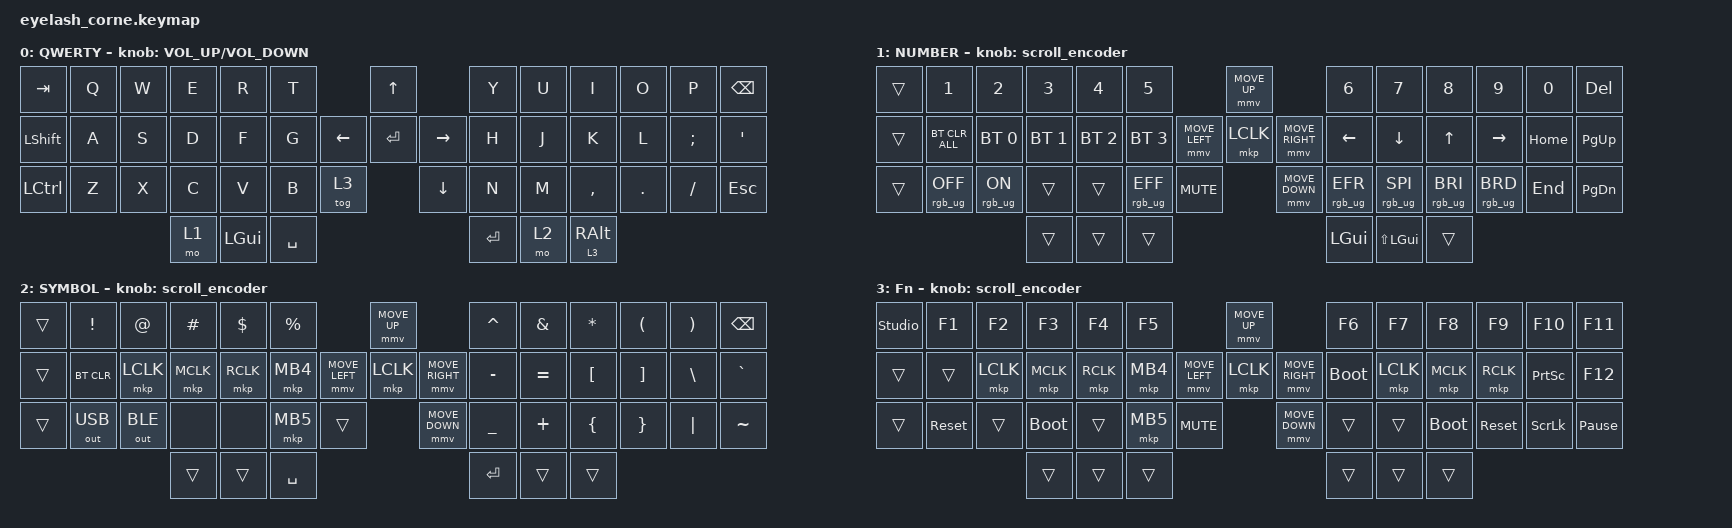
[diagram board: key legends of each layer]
#define ZMK_POINTING_DEFAULT_MOVE_VAL 1200  // 600
#define ZMK_POINTING_DEFAULT_SCRL_VAL 25   // 10

#include <input/processors.dtsi>
#include <zephyr/dt-bindings/input/input-event-codes.h>
#include <behaviors.dtsi>
#include <dt-bindings/zmk/bt.h>
#include <dt-bindings/zmk/keys.h>
#include <dt-bindings/zmk/outputs.h>
#include <dt-bindings/zmk/pointing.h>
#include <dt-bindings/zmk/rgb.h>

&mmv_input_listener { input-processors = <&zip_xy_scaler 2 1>; };

&msc_input_listener { input-processors = <&zip_scroll_scaler 2 1>; };

&msc {
    acceleration-exponent = <1>;      // 0
    time-to-max-speed-ms = <100>;       // 300
    delay-ms = <0>;                   // 0
};

&mmv {
    time-to-max-speed-ms = <500>;
    acceleration-exponent = <1>;
    trigger-period-ms = <16>;
};

/ {
    behaviors {
        td0: td0 {
            compatible = "zmk,behavior-tap-dance";
            display-name = "Shift/Caps Lock Tap Dance";
            #binding-cells = <0>;
            bindings = <&kp LEFT_SHIFT>, <&kp CAPS>;
        };
    };

    rgb_encoder: rgb_encoder {
        compatible = "zmk,behavior-sensor-rotate";
        #sensor-binding-cells = <0>;
        bindings = <&rgb_ug RGB_BRI>, <&rgb_ug RGB_BRD>;
    };

    scroll_encoder: scroll_encoder {
        compatible = "zmk,behavior-sensor-rotate";
        #sensor-binding-cells = <0>;
        bindings = <&msc SCRL_DOWN>, <&msc SCRL_UP>;

        tap-ms = <100>;
    };

    combos {
        compatible = "zmk,combos";

        // PyCharm quick access combos
    };

    keymap {
        compatible = "zmk,keymap";

        default_layer {
            display-name = "QWERTY";
            bindings = <
&kp TAB         &kp Q  &kp W  &kp E  &kp R     &kp T                          &kp UP                &kp Y      &kp U  &kp I            &kp O    &kp P     &kp BSPC
&kp LEFT_SHIFT  &kp A  &kp S  &kp D  &kp F     &kp G                &kp LEFT  &kp ENTER  &kp RIGHT  &kp H      &kp J  &kp K            &kp L    &kp SEMI  &kp SQT
&kp LCTRL       &kp Z  &kp X  &kp C  &kp V     &kp B      &tog 3              &kp DOWN              &kp N      &kp M  &kp COMMA        &kp DOT  &kp FSLH  &kp ESC
                              &mo 1  &kp LGUI  &kp SPACE                                            &kp ENTER  &mo 2  &lt 3 RIGHT_ALT
            >;

            sensor-bindings = <&inc_dec_kp C_VOLUME_UP C_VOLUME_DOWN>;
        };

        lower_layer {
            display-name = "NUMBER";
            bindings = <
&trans  &kp N1           &kp N2          &kp N3        &kp N4        &kp N5                                         &mmv MOVE_UP                     &kp N6           &kp N7           &kp N8           &kp N9           &kp N0    &kp DEL
&trans  &bt BT_CLR_ALL   &bt BT_SEL 0    &bt BT_SEL 1  &bt BT_SEL 2  &bt BT_SEL 3                   &mmv MOVE_LEFT  &mkp LCLK       &mmv MOVE_RIGHT  &kp LEFT         &kp DOWN         &kp UP           &kp RIGHT        &kp HOME  &kp PG_UP
&trans  &rgb_ug RGB_OFF  &rgb_ug RGB_ON  &trans        &trans        &rgb_ug RGB_EFF  &kp C_MUTE                    &mmv MOVE_DOWN                   &rgb_ug RGB_EFR  &rgb_ug RGB_SPI  &rgb_ug RGB_BRI  &rgb_ug RGB_BRD  &kp END   &kp PG_DN
                                         &trans        &trans        &trans                                                                          &kp LGUI         &kp LS(LGUI)     &trans
            >;

            sensor-bindings = <&scroll_encoder>;
        };

        raise_layer {
            display-name = "SYMBOL";
            bindings = <
&trans  &kp EXCL      &kp AT        &kp HASH   &kp DLLR   &kp PRCNT                            &mmv MOVE_UP                     &kp CARET  &kp AMPS   &kp ASTRK  &kp LPAR  &kp RPAR  &kp BSPC
&trans  &bt BT_CLR    &mkp LCLK     &mkp MCLK  &mkp RCLK  &mkp MB4             &mmv MOVE_LEFT  &mkp LCLK       &mmv MOVE_RIGHT  &kp MINUS  &kp EQUAL  &kp LBKT   &kp RBKT  &kp BSLH  &kp GRAVE
&trans  &out OUT_USB  &out OUT_BLE  &none      &none      &mkp MB5   &trans                    &mmv MOVE_DOWN                   &kp UNDER  &kp PLUS   &kp LBRC   &kp RBRC  &kp PIPE  &kp TILDE
                                    &trans     &trans     &kp SPACE                                                             &kp RET    &trans     &trans
            >;

            sensor-bindings = <&scroll_encoder>;
        };

        layer_3 {
            display-name = "Fn";
            bindings = <
&studio_unlock  &kp F1      &kp F2     &kp F3       &kp F4     &kp F5                                  &mmv MOVE_UP                     &kp F6       &kp F7     &kp F8       &kp F9      &kp F10          &kp F11
&trans          &trans      &mkp LCLK  &mkp MCLK    &mkp RCLK  &mkp MB4                &mmv MOVE_LEFT  &mkp LCLK       &mmv MOVE_RIGHT  &bootloader  &mkp LCLK  &mkp MCLK    &mkp RCLK   &kp PRINTSCREEN  &kp F12
&trans          &sys_reset  &trans     &bootloader  &trans     &mkp MB5  &kp C_MUTE                    &mmv MOVE_DOWN                   &trans       &trans     &bootloader  &sys_reset  &kp SCROLLLOCK   &kp PAUSE_BREAK
                                       &trans       &trans     &trans                                                                   &trans       &trans     &trans
            >;

            sensor-bindings = <&scroll_encoder>;
        };
    };
};

/*
 * PyCharm Layer (Layer 4) Key Mappings:
 * 
 * LEFT SIDE - Navigation & Search:
 * ┌──────────────┬──────────────┬──────────────┬──────────────┬──────────────┬──────────────┐
 * │ Ctrl+N       │ Ctrl+Shift+N │ Ctrl+F       │ Ctrl+R       │ Ctrl+G       │ Ctrl+B       │
 * │ Go to Class  │ Go to File   │ Find         │ Replace      │ Go to Line   │ Go to Decl   │
 * ├──────────────┼──────────────┼──────────────┼──────────────┼──────────────┼──────────────┤
 * │ Alt+F7       │ Ctrl+Q       │ Ctrl+P       │ Ctrl+Alt+B   │ F6           │ Ctrl+Alt+M   │
 * │ Find Usages  │ Quick Doc    │ Param Info   │ Go to Impl   │ Move         │ Extract Mthd │
 * ├──────────────┼──────────────┼──────────────┼──────────────┼──────────────┼──────────────┤
 * │ Ctrl+Z       │ Ctrl+X       │ Ctrl+C       │ Ctrl+V       │ Ctrl+D       │ F12          │
 * │ Undo         │ Cut          │ Copy         │ Paste        │ Duplicate    │ Back         │
 * └──────────────┴──────────────┴──────────────┼──────────────┼──────────────┼──────────────┤
 *                                              │ TRANS        │ TRANS        │ TRANS        │
 *                                              └──────────────┴──────────────┴──────────────┘
 * 
 * RIGHT SIDE - Run/Debug & Actions:
 * ┌──────────────┬──────────────┬──────────────┬──────────────┬──────────────┬──────────────┐
 * │ Shift+F10    │ Shift+F9     │ Ctrl+Shift+F │ F2           │ Shift+F6     │ Ctrl+/       │
 * │ Run          │ Debug        │ Find in File │ Next Error   │ Rename       │ Comment      │
 * ├──────────────┼──────────────┼──────────────┼──────────────┼──────────────┼──────────────┤
 * │ F8           │ F7           │ Ctrl+F8      │ Alt+F9       │ Ctrl+Y       │ Ctrl+Shift+Y │
 * │ Step Over    │ Step Into    │ Breakpoint   │ Run to Cur   │ Delete Line  │ Delete Line  │
 * ├──────────────┼──────────────┼──────────────┼──────────────┼──────────────┼──────────────┤
 * │ F9           │ F10          │ F11          │ Alt+Left     │ Alt+Right    │ Ctrl+Alt+L   │
 * │ Resume       │ Step Out     │ Full Screen  │ Back         │ Forward      │ Format Code  │
 * ┌──────────────┼──────────────┼──────────────┼──────────────┴──────────────┴──────────────┘
 * │ TRANS        │ REFACTOR→    │ TRANS        │
 * └──────────────┴──────────────┴──────────────┘
 * 
 * Refactor Layer (Layer 5) Key Mappings:
 * Access: From PyCharm layer, hold the middle thumb key OR use F+G combo
 * 
 * LEFT SIDE - Extract & Inline Operations:
 * ┌──────────────┬──────────────┬──────────────┬──────────────┬──────────────┬──────────────┐
 * │ Ctrl+Alt+N   │ Ctrl+Alt+C   │ Ctrl+Alt+F   │ Ctrl+Alt+P   │ Ctrl+Alt+T   │              │
 * │ Inline       │ Extract Const│ Extract Field│ Extract Param│ Surround With│              │
 * ├──────────────┼──────────────┼──────────────┼──────────────┼──────────────┼──────────────┤
 * │ Ctrl+Alt+L   │ Ctrl+H       │ Ctrl+Alt+R   │ Ctrl+Alt+E   │ Ctrl+U       │              │
 * │ Reformat Code│ Type Hier    │ Replace      │ Recent Edit  │ Super Method │              │
 * ├──────────────┼──────────────┼──────────────┼──────────────┼──────────────┼──────────────┤
 * │ Shift+F6     │ F6           │ Ctrl+F6      │ CA+Shift+M   │ CA+Shift+T   │              │
 * │ Rename       │ Move         │ Copy         │ Move Members │ Move Static  │              │
 * └──────────────┴──────────────┴──────────────┼──────────────┼──────────────┼──────────────┤
 *                                              │ TRANS        │ TRANS        │ TRANS        │
 *                                              └──────────────┴──────────────┴──────────────┘
 * 
 * RIGHT SIDE - Advanced Refactoring & Structure:
 * ┌──────────────┬──────────────┬──────────────┬──────────────┬──────────────┬──────────────┐
 * │ Ctrl+Alt+M   │ Ctrl+Alt+V   │ Ctrl+Alt+/   │ Ctrl+Alt+S   │ Ctrl+Alt+I   │ Ctrl+Shift+T │
 * │ Extract Mthd │ Extract Var  │ Extract Iface│ Settings     │ Implement    │ Create Test  │
 * ├──────────────┼──────────────┼──────────────┼──────────────┼──────────────┼──────────────┤
 * │ Alt+Insert   │ Ctrl+Alt+D   │ Ctrl+T       │ Ctrl+F12     │ Alt+F1       │ Ctrl+Alt+U   │
 * │ Generate     │ Introduce    │ Refactor Menu│ File Structure│ Select Target│ UML Diagram  │
 * ├──────────────┼──────────────┼──────────────┼──────────────┼──────────────┼──────────────┤
 * │ CA+Shift+U   │ CA+Shift+D   │ CA+Shift+F   │ CA+Shift+P   │ CA+Shift+A   │ CA+Shift+S   │
 * │ Turn Into    │ Convert       │ Change Sig   │ Pull Up      │ Abstract     │ Safe Delete  │
 * ┌──────────────┼──────────────┼──────────────┼──────────────┴──────────────┴──────────────┘
 * │ TRANS        │ TRANS        │ TRANS        │
 * └──────────────┴──────────────┴──────────────┘
 * 
 * Access Methods:
 * 1. COMBO: Hold both inner thumb keys (Space + Enter) to access PyCharm layer
 * 2. From PyCharm layer: Hold middle thumb key to access Refactor layer
 * 3. Quick refactor combos on QWERTY layer:
 *    - R+T: Run (Shift+F10)
 *    - T+Y: Debug (Shift+F9)  
 *    - E+R: Go to File (Ctrl+Shift+N)
 *    - ,+.: Comment/Uncomment (Ctrl+/)
 *    - F+G: Extract Method (Ctrl+Alt+M)
 *    - M+,: Extract Variable (Ctrl+Alt+V)  
 *    - R+F: Rename (Shift+F6)
 * 
 * Abbreviations:
 * CA = Ctrl+Alt, CS = Ctrl+Shift, CAS = Ctrl+Alt+Shift
 */
